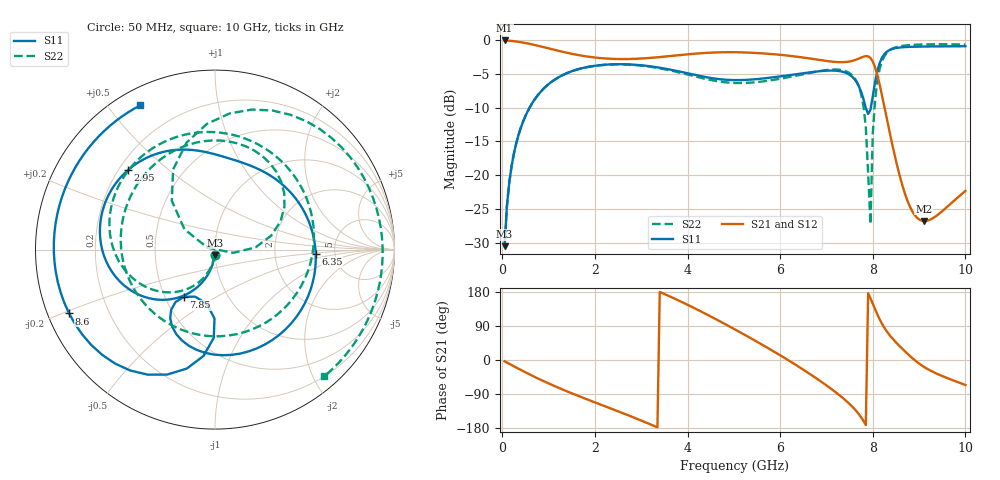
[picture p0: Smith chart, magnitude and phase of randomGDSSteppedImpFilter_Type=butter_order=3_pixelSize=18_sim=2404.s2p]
! freq	dB(S11)	phase(S11)	dB(S12)	phase(S12)
!  dB(S21)	phase(S21)	dB(S22)	phase(S22)
!S-par simulation data
#  GHz  S  DB  R 50
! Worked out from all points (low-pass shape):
!   200 points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, 50 MHz to 10 GHz, reference 50 ohm
!   highest |S21| = -0.01 dB at 50 MHz (marker M1); lowest = -26.8 dB at 9.1 GHz (marker M2)
!   |S21| within 3 dB of the highest: start of sweep to 6.955 GHz; 7.572 GHz to 7.988 GHz (415.9 MHz wide, 5.35 % of centre)
!   lowest |S11| = -30.5 dB at 50 MHz (marker M3), VSWR 1.06, Z = 49.7 - j2.96 ohm
!   |S11| at or under -10 dB: start of sweep to 588.2 MHz; 7.849 GHz to 7.958 GHz (108.6 MHz wide, 1.37 % of centre)
!   |S22| runs from -30.5 to -0.6 dB; largest |S21 - S12| = 0
!   S11 on the Smith chart (normalised r, x): 50 MHz: 0.99, -0.06; 2.95 GHz: 0.24, +0.37; 6.35 GHz: 3.54, -0.24; 7.85 GHz: 0.62, -0.36; 8.6 GHz: 0.06, -0.21; 10 GHz: 0.07, +0.61
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0.05  -30.53 -93.4  -0.01 -3.3  -0.01 -3.3  -30.53 -94.0
0.2  -18.67 -102.8  -0.08 -13.3  -0.08 -13.3  -18.67 -105.2
0.5  -11.22 -120.1  -0.38 -32.5  -0.38 -32.5  -11.22 -126.1
1.75  -4.07 -179.0  -2.30 -100.0  -2.30 -100.0  -4.09 157.8
2.95  -3.66 137.4  -2.71 -157.2  -2.71 -157.2  -3.71 87.7
3.4  -4.05 122.2  -2.47 179.6  -2.47 179.6  -4.14 57.0
4.2  -5.18 97.0  -1.95 133.7  -1.95 133.7  -5.41 -8.6
5.05  -5.89 70.3  -1.76 79.0  -1.76 79.0  -6.32 -91.0
5.75  -5.56 38.0  -1.99 30.6  -1.99 30.6  -5.97 -155.8
6.35  -5.01 -2.4  -2.40 -13.8  -2.40 -13.8  -5.23 155.3
6.7  -4.69 -31.0  -2.74 -41.6  -2.74 -41.6  -4.74 128.1
7.4  -4.76 -95.4  -3.21 -105.0  -3.21 -105.0  -4.53 68.5
7.7  -6.80 -123.1  -2.69 -143.1  -2.69 -143.1  -6.84 31.7
7.85  -10.03 -123.4  -2.33 -171.7  -2.33 -171.7  -12.91 3.2
7.95  -10.30 -98.5  -2.61 162.8  -2.61 162.8  -27.28 165.5
8  -8.30 -90.4  -3.13 148.5  -3.13 148.5  -13.80 146.3
8.05  -6.17 -90.8  -3.99 133.9  -3.99 133.9  -8.79 131.5
8.2  -2.55 -111.0  -8.18 95.4  -8.18 95.4  -3.07 93.6
8.35  -1.47 -131.2  -13.17 67.8  -13.17 67.8  -1.53 67.6
8.6  -1.04 -156.4  -20.55 34.1  -20.55 34.1  -0.85 38.9
9.1  -0.91 167.5  -26.81 -17.8  -26.81 -17.8  -0.59 0.8
10  -0.87 117.4  -22.33 -66.0  -22.33 -66.0  -0.61 -49.2
